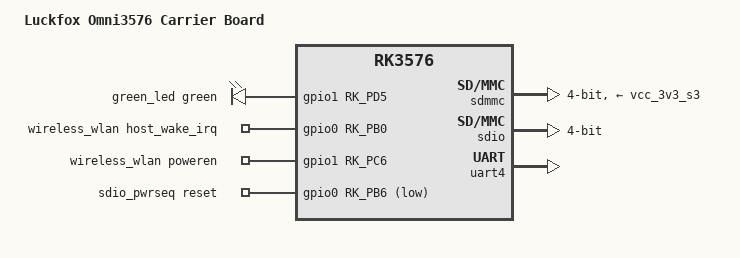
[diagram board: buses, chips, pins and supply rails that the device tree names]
// SPDX-License-Identifier: (GPL-2.0+ OR MIT)
/*
 * Copyright (c) 2024 Rockchip Electronics Co., Ltd.
 * Copyright (c) 2025 John Clark <inindev@gmail.com>
 */

/dts-v1/;

#include "rk3576-luckfox-core3576.dtsi"

/ {
	model = "Luckfox Omni3576 Carrier Board";
	compatible = "luckfox,omni3576", "luckfox,core3576", "rockchip,rk3576";

	aliases {
		mmc1 = &sdmmc;
	};

	leds: leds {
		compatible = "gpio-leds";
		pinctrl-names = "default";
		pinctrl-0 = <&led_green_pin>;

		green_led: green-led {
			color = <LED_COLOR_ID_GREEN>;
			function = LED_FUNCTION_HEARTBEAT;
			gpios = <&gpio1 RK_PD5 GPIO_ACTIVE_HIGH>;
			linux,default-trigger = "heartbeat";
		};
	};

	wireless_wlan: wireless-wlan {
		compatible = "wlan-platdata";
		pinctrl-names = "default";
		pinctrl-0 = <&wifi_host_wake_irq &wifi_poweren_gpio>;
		WIFI,host_wake_irq = <&gpio0 RK_PB0 GPIO_ACTIVE_HIGH>; // WIFI_WAKE_HOST_H
		WIFI,poweren_gpio = <&gpio1 RK_PC6 GPIO_ACTIVE_HIGH>;
		status = "okay";
	};

	sdio_pwrseq: sdio-pwrseq {
		compatible = "mmc-pwrseq-simple";
		pinctrl-names = "default";
		pinctrl-0 = <&wifi_poweren_gpio>;

		/*
		 * On the module itself this is one of these (depending
		 * on the actual card populated):
		 * - SDIO_RESET_L_WL_REG_ON
		 * - PDN (power down when low)
		 */
		post-power-on-delay-ms = <200>;
		reset-gpios = <&gpio0 RK_PB6 GPIO_ACTIVE_LOW>;
		status = "okay";
	};
};

&pinctrl {
	leds {
		led_green_pin: led-green-pin {
			rockchip,pins = <1 RK_PD5 RK_FUNC_GPIO &pcfg_pull_none>;
		};
	};

	wireless-bluetooth {
		uart4_gpios: uart4-gpios {
			rockchip,pins = <1 RK_PC2 RK_FUNC_GPIO &pcfg_pull_none>;
		};
	};

	wireless-wlan {
		wifi_host_wake_irq: wifi-host-wake-irq {
			rockchip,pins = <0 RK_PB0 RK_FUNC_GPIO &pcfg_pull_down>;
		};

		wifi_poweren_gpio: wifi-poweren-gpio {
			rockchip,pins = <1 RK_PC6 RK_FUNC_GPIO &pcfg_pull_up>;
		};
	};
};

&sdmmc {
	bus-width = <4>;
	cap-mmc-highspeed;
	cap-sd-highspeed;
	disable-wp;
	no-sdio;
	sd-uhs-sdr104;
	vmmc-supply = <&vcc_3v3_s3>;
	vqmmc-supply = <&vccio_sd_s0>;
	status = "okay";
	/delete-property/ supports-cqe;
};


&sdio {
	max-frequency = <200000000>;
	no-sd;
	no-mmc;
	bus-width = <4>;
	disable-wp;
	cap-sd-highspeed;
	cap-sdio-irq;
	keep-power-in-suspend;
	pinctrl-names = "default";
	pinctrl-0 = <&sdmmc1m0_bus4 &sdmmc1m0_clk &sdmmc1m0_cmd>;
	sd-uhs-sdr104;
	status = "okay";
};

&uart4 {
	status = "okay";
	pinctrl-names = "default";
	pinctrl-0 = <&uart4m1_xfer &uart4m1_ctsn>;
};
